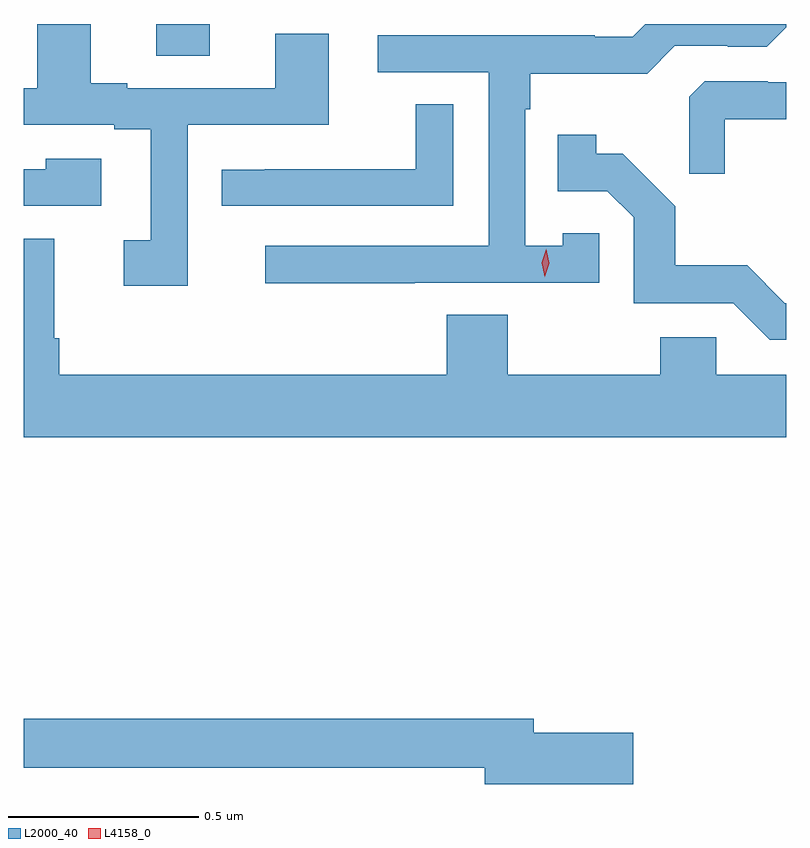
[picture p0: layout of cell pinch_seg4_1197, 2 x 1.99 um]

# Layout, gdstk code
import gdstk
lib = gdstk.Library(unit=1e-6, precision=1e-09)
def R(c, l, rs):  # rectangles x0, y0, x1, y1
    for r in rs: c.add(gdstk.rectangle(r[:2], r[2:], *l))
def P(c, l, *ps):  # polygons
    for p in ps: c.add(gdstk.Polygon(p, *l))
L2000_40 = (2000, 40)
L4158_0 = (4158, 0)

pinch_seg4_1197 = lib.new_cell('pinch_seg4_1197')
R(pinch_seg4_1197, L2000_40, [(396.029,777.841,396.169,777.924)])
P(pinch_seg4_1197, L2000_40, [(396.707,777.246),(397.191,777.246),(397.191,777.375),(397.095,777.375),(397.095,777.343),(396.996,777.343),(396.996,777.701),(397.009,777.701),(397.009,777.794),(397.316,777.794),(397.389,777.867),(397.528,777.867),(397.528,777.864),(397.629,777.864),(397.681,777.916),(397.681,777.924),(397.311,777.924),(397.278,777.891),(397.178,777.891),(397.178,777.894),(396.609,777.894),(396.609,777.798),(396.9,777.798),(396.9,777.342),(396.315,777.342),(396.315,777.244),(396.707,777.244)],
  [(396.111,777.66),(396.481,777.66),(396.481,777.899),(396.341,777.899),(396.341,777.756),(395.953,777.756),(395.953,777.769),(395.857,777.769),(395.857,777.924),(395.717,777.924),(395.717,777.756),(395.681,777.756),(395.681,777.66),(395.918,777.66),(395.918,777.648),(396.014,777.648),(396.014,777.357),(395.943,777.357),(395.943,777.237),(396.111,777.237)],
  [(397.52,777.674),(397.681,777.674),(397.681,777.771),(397.632,777.771),(397.632,777.774),(397.467,777.774),(397.426,777.733),(397.426,777.531),(397.52,777.531)],
  [(396.807,777.713),(396.709,777.713),(396.709,777.543),(396.313,777.543),(396.313,777.542),(396.201,777.542),(396.201,777.447),(396.807,777.447)],
  [(397.681,777.192),(397.677,777.192),(397.579,777.291),(397.39,777.291),(397.39,777.446),(397.252,777.584),(397.182,777.584),(397.182,777.634),(397.081,777.634),(397.081,777.486),(397.212,777.486),(397.281,777.417),(397.281,777.192),(397.542,777.192),(397.638,777.096),(397.681,777.096)],
  [(395.884,777.571),(395.739,777.571),(395.739,777.543),(395.681,777.543),(395.681,777.447),(395.884,777.447)],
  [(397.681,777.004),(397.497,777.004),(397.497,777.102),(397.351,777.102),(397.351,777.004),(396.951,777.004),(396.951,777.161),(396.791,777.161),(396.791,777.004),(395.774,777.004),(395.774,777.1),(395.761,777.1),(395.761,777.361),(395.681,777.361),(395.681,776.84),(397.681,776.84)],
  [(397.279,776.066),(397.018,776.066),(397.018,776.102),(395.681,776.102),(395.681,775.974),(396.89,775.974),(396.89,775.931),(397.279,775.931)])
P(pinch_seg4_1197, L4158_0, [(397.048,777.261),(397.048,777.261),(397.04,777.298),(397.051,777.333),(397.051,777.333),(397.051,777.333),(397.059,777.297),(397.048,777.261)])

lib.write_gds('pinch_seg4_1197.gds')
